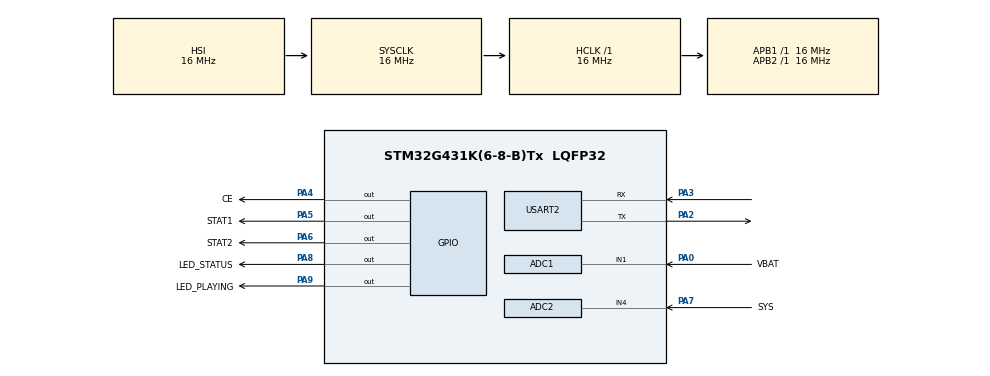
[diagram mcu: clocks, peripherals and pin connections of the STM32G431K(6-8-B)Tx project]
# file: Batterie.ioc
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ADC1.Channel-0\#ChannelRegularConversion=ADC_CHANNEL_1
ADC1.NbrOfConversion=1
ADC1.NbrOfConversionFlag=1
ADC1.OffsetNumber-0\#ChannelRegularConversion=ADC_OFFSET_NONE
ADC1.Rank-0\#ChannelRegularConversion=1
ADC1.SamplingTime-0\#ChannelRegularConversion=ADC_SAMPLETIME_247CYCLES_5
ADC1.master=1
ADC2.Channel-0\#ChannelRegularConversion=ADC_CHANNEL_4
ADC2.NbrOfConversionFlag=1
ADC2.OffsetNumber-0\#ChannelRegularConversion=ADC_OFFSET_NONE
ADC2.Rank-0\#ChannelRegularConversion=1
ADC2.SamplingTime-0\#ChannelRegularConversion=ADC_SAMPLETIME_2CYCLES_5
Mcu.Family=STM32G4
Mcu.Name=STM32G431K(6-8-B)Tx
Mcu.Package=LQFP32
NVIC.PriorityGroup=NVIC_PRIORITYGROUP_4
NVIC.TIM6_DAC_IRQn=true\:15\:0\:false\:false\:true\:false\:true\:true
NVIC.TimeBase=TIM6_DAC_IRQn
NVIC.TimeBaseIP=TIM6
PA0.GPIO_Label=VBAT
PA0.Signal=SharedAnalog_PA0
PA11.Signal=USB_DM
PA12.Signal=USB_DP
PA13.Mode=Serial_Wire
PA13.Signal=SYS_JTMS-SWDIO
PA14.Mode=Serial_Wire
PA14.Signal=SYS_JTCK-SWCLK
PA2.Mode=Asynchronous
PA2.Signal=USART2_TX
PA3.Mode=Asynchronous
PA3.Signal=USART2_RX
PA4.GPIO_Label=CE
PA4.Signal=GPIO_Output
PA5.GPIO_Label=STAT1
PA5.Signal=GPIO_Output
PA6.GPIO_Label=STAT2
PA6.Signal=GPIO_Output
PA7.GPIO_Label=SYS
PA7.Signal=SharedAnalog_PA7
PA8.GPIO_Label=LED_STATUS
PA8.Signal=GPIO_Output
PA9.GPIO_Label=LED_PLAYING
PA9.Signal=GPIO_Output
ProjectManager.HeapSize=0x200
ProjectManager.StackSize=0x400
ProjectManager.TargetToolchain=STM32CubeIDE
RCC.AHBFreq_Value=16000000
RCC.APB1Freq_Value=16000000
RCC.APB1TimFreq_Value=16000000
RCC.APB2Freq_Value=16000000
RCC.APB2TimFreq_Value=16000000
RCC.CK48CLockSelection=RCC_USBCLKSOURCE_HSI48
RCC.CortexFreq_Value=16000000
RCC.EXTERNAL_CLOCK_VALUE=12288000
RCC.HCLKFreq_Value=16000000
RCC.HSE_VALUE=8000000
RCC.HSI48_VALUE=48000000
RCC.HSI_VALUE=16000000
RCC.LSE_VALUE=32768
RCC.SYSCLKFreq_VALUE=16000000
RCC.USBFreq_Value=48000000
RCC.VCOOutputFreq_Value=128000000
SH.SharedAnalog_PA0.0=GPIO_Analog
SH.SharedAnalog_PA0.1=ADC1_IN1,IN1-Single-Ended
SH.SharedAnalog_PA7.0=GPIO_Analog
SH.SharedAnalog_PA7.1=ADC2_IN4,IN4-Single-Ended
USART2.VirtualMode-Asynchronous=VM_ASYNC
VP_SYS_VS_DBSignals.Mode=DisableDeadBatterySignals
VP_SYS_VS_tim6.Mode=TIM6
board=custom

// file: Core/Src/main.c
/* USER CODE BEGIN Header */
/**
 ******************************************************************************
 * @file           : main.c
 * @brief          : Main program body
 ******************************************************************************
 * @attention
 *
 * Copyright (c) 2025 STMicroelectronics.
 * All rights reserved.
 *
 * This software is licensed under terms that can be found in the LICENSE file
 * in the root directory of this software component.
 * If no LICENSE file comes with this software, it is provided AS-IS.
 *
 ******************************************************************************
 */
/* USER CODE END Header */
#include "main.h"
#include "adc.h"
#include "usart.h"
#include "gpio.h"

/* USER CODE BEGIN Includes */
#include <stdio.h>
#include <utils.h>
/* USER CODE END Includes */

void SystemClock_Config(void);

/* USER CODE BEGIN 0 */
int __io_putchar(int chr)
{
	HAL_UART_Transmit(&huart2, (uint8_t*)&chr, 1, HAL_MAX_DELAY);

	return 0;
}
/* USER CODE END 0 */

int main(void)
{

  /* MCU Configuration--------------------------------------------------------*/

  /* Reset of all peripherals, Initializes the Flash interface and the Systick. */
  HAL_Init();

  /* Configure the system clock */
  SystemClock_Config();

  /* Initialize all configured peripherals */
  MX_GPIO_Init();
  MX_USART2_UART_Init();
  MX_ADC1_Init();
  MX_ADC2_Init();
  /* USER CODE BEGIN 2 */
  printf("BONJOUR\r\n");

	HAL_GPIO_TogglePin(LED_STATUS_GPIO_Port, LED_STATUS_Pin);
  /* USER CODE END 2 */

  /* Infinite loop */
  /* USER CODE BEGIN WHILE */
	while (1)
	{
		float voltage=read_analog_input();
		HAL_Delay(500);

		if (voltage==0){
			HAL_GPIO_WritePin(CE_GPIO_Port,CE_Pin,1);
		}
		else if(voltage<3.5){ //Voltage ou la batterie est à 10%
			HAL_GPIO_WritePin(CE_GPIO_Port,CE_Pin,0);
			HAL_GPIO_TogglePin(LED_STATUS_GPIO_Port, LED_STATUS_Pin);
		}
		else if(voltage>4){
			HAL_GPIO_WritePin(CE_GPIO_Port,CE_Pin,1);
			HAL_GPIO_WritePin(LED_PLAYING_GPIO_Port, LED_PLAYING_Pin, 1);

		}
		else{
			HAL_GPIO_WritePin(CE_GPIO_Port,CE_Pin,0);
			HAL_GPIO_WritePin(LED_STATUS_GPIO_Port, LED_STATUS_Pin, 1);
			HAL_GPIO_WritePin(LED_PLAYING_GPIO_Port, LED_PLAYING_Pin, 0);
		}
		int CE=HAL_GPIO_ReadPin(CE_GPIO_Port, CE_Pin);
		printf("%i \n\r",CE);
		//HAL_GPIO_TogglePin(LED_STATUS_GPIO_Port, LED_STATUS_Pin);
		//HAL_GPIO_TogglePin(LED_PLAYING_GPIO_Port, LED_PLAYING_Pin);
		//HAL_Delay(100);
    /* USER CODE END WHILE */

	}
}

void SystemClock_Config(void)
{
  RCC_OscInitTypeDef RCC_OscInitStruct = {0};
  RCC_ClkInitTypeDef RCC_ClkInitStruct = {0};

  /** Configure the main internal regulator output voltage
  */
  HAL_PWREx_ControlVoltageScaling(PWR_REGULATOR_VOLTAGE_SCALE1);

  /** Initializes the RCC Oscillators according to the specified parameters
  * in the RCC_OscInitTypeDef structure.
  */
  RCC_OscInitStruct.OscillatorType = RCC_OSCILLATORTYPE_HSI;
  RCC_OscInitStruct.HSIState = RCC_HSI_ON;
  RCC_OscInitStruct.HSICalibrationValue = RCC_HSICALIBRATION_DEFAULT;
  RCC_OscInitStruct.PLL.PLLState = RCC_PLL_NONE;
  if (HAL_RCC_OscConfig(&RCC_OscInitStruct) != HAL_OK)
  {
    Error_Handler();
  }

  /** Initializes the CPU, AHB and APB buses clocks
  */
  RCC_ClkInitStruct.ClockType = RCC_CLOCKTYPE_HCLK|RCC_CLOCKTYPE_SYSCLK
                              |RCC_CLOCKTYPE_PCLK1|RCC_CLOCKTYPE_PCLK2;
  RCC_ClkInitStruct.SYSCLKSource = RCC_SYSCLKSOURCE_HSI;
  RCC_ClkInitStruct.AHBCLKDivider = RCC_SYSCLK_DIV1;
  RCC_ClkInitStruct.APB1CLKDivider = RCC_HCLK_DIV1;
  RCC_ClkInitStruct.APB2CLKDivider = RCC_HCLK_DIV1;

  if (HAL_RCC_ClockConfig(&RCC_ClkInitStruct, FLASH_LATENCY_0) != HAL_OK)
  {
    Error_Handler();
  }
}

void HAL_TIM_PeriodElapsedCallback(TIM_HandleTypeDef *htim)
{
  if (htim->Instance == TIM6) {
    HAL_IncTick();
  }
}

void Error_Handler(void)
{
	__disable_irq();
	while (1)
	{
	}
}
